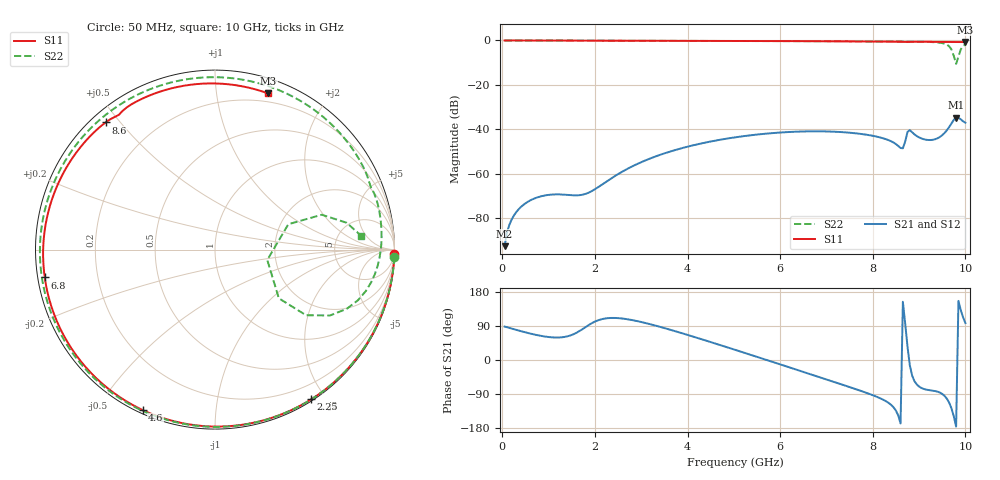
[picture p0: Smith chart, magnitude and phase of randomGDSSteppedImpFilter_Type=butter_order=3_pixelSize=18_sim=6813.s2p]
! freq	dB(S11)	phase(S11)	dB(S12)	phase(S12)
!  dB(S21)	phase(S21)	dB(S22)	phase(S22)
!S-par simulation data
#  GHz  S  DB  R 50
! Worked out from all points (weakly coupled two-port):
!   200 points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, 50 MHz to 10 GHz, reference 50 ohm
!   highest |S21| = -34.77 dB at 9.8 GHz (marker M1); lowest = -92.7 dB at 50 MHz (marker M2)
!   lowest |S11| = -0.7 dB at 10 GHz (marker M3), VSWR 23.71, Z = 6.21 + j69.5 ohm
!   |S11| at or under -10 dB: nowhere
!   |S22| runs from -10.5 to 0.0 dB; largest |S21 - S12| = 0
!   S11 on the Smith chart (normalised r, x): 50 MHz: 0, -87; 2.25 GHz: 0.02, -1.83; 4.6 GHz: 0.01, -0.65; 6.8 GHz: 0.02, -0.08; 8.6 GHz: 0.04, +0.46; 10 GHz: 0.12, +1.39
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0.05  -0.00 -1.3  -92.71 88.2  -92.71 88.2  -0.00 -2.3
0.2  -0.01 -5.2  -80.78 83.0  -80.78 83.0  -0.01 -9.2
0.8  -0.03 -20.7  -70.44 64.5  -70.44 64.5  -0.05 -36.2
1.75  -0.06 -44.8  -69.43 83.0  -69.43 83.0  -0.09 -77.0
2.25  -0.07 -57.3  -63.57 110.1  -63.57 110.1  -0.12 -97.0
3.4  -0.11 -85.4  -51.60 87.7  -51.60 87.7  -0.16 -140.2
4.6  -0.17 -114.3  -45.14 43.5  -45.14 43.5  -0.22 177.3
5.05  -0.20 -125.3  -43.59 26.0  -43.59 26.0  -0.24 161.4
6.7  -0.33 -167.9  -40.95 -39.4  -40.95 -39.4  -0.33 101.0
6.8  -0.34 -170.7  -40.94 -43.4  -40.94 -43.4  -0.34 97.2
7.55  -0.43 167.0  -41.67 -73.5  -41.67 -73.5  -0.38 68.3
8.35  -0.53 140.1  -45.00 -113.9  -45.00 -113.9  -0.45 37.0
8.6  -0.59 130.7  -48.47 -167.7  -48.47 -167.7  -0.50 27.0
8.65  -0.62 128.7  -48.61 153.7  -48.61 153.7  -0.53 25.0
8.75  -0.70 125.5  -41.24 35.0  -41.24 35.0  -0.58 21.5
8.8  -0.65 123.9  -40.42 -14.0  -40.42 -14.0  -0.54 19.6
9.1  -0.61 111.4  -44.50 -76.4  -44.50 -76.4  -0.60 6.5
9.45  -0.65 96.4  -43.48 -86.0  -43.48 -86.0  -1.02 -11.9
9.7  -0.69 85.2  -37.36 -127.8  -37.36 -127.8  -4.08 -35.8
9.8  -0.70 80.6  -34.77 -175.7  -34.77 -175.7  -10.55 -11.2
9.9  -0.72 75.9  -35.55 131.8  -35.55 131.8  -4.07 18.1
10  -0.73 71.2  -37.09 97.6  -37.09 97.6  -1.75 5.4
